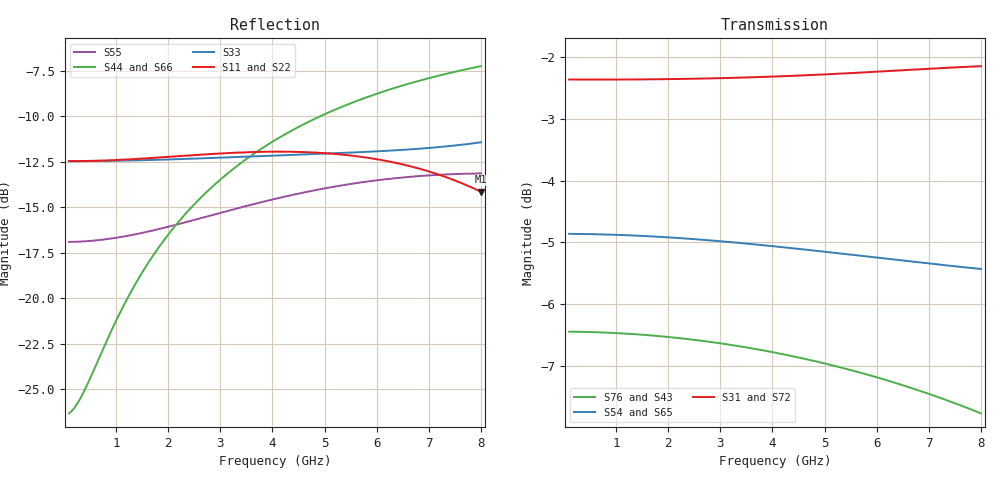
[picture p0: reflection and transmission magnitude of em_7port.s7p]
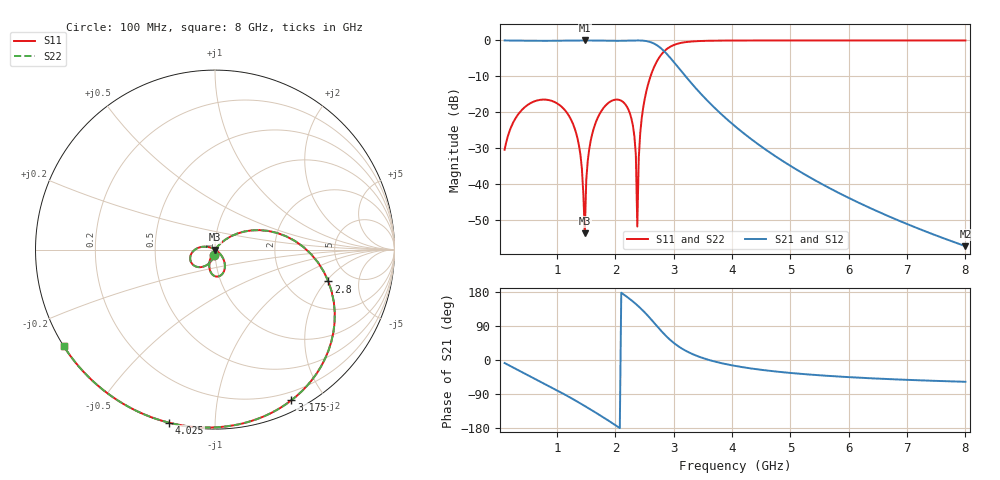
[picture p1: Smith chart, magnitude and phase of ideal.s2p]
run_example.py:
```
"""5th-order 0.1 dB Chebyshev LC low-pass (port-tuning-palace), cross-checked in every simulator.

Three circuits, all on the port-tuning project's grid (0.1-8 GHz, 25 MHz steps, 317 points):
  ideal      ideal schematic values (C1-L2-C3-L4-C5, shunt-C first)          vs the project's data/ideal.s2p
  as_drawn   EM 7-port (Palace) as an S-block, internal ports 3-7 terminated with the ideal values
                                                                              vs the project's pred_as_drawn.s2p
  e24        the same EM 7-port with the port-tuned E24 values               vs the project's pred_e24.s2p
The project's predictions came from its own numpy termination formula (checked against skrf.connect); here
the same EM data go through qucsator's SPfile, circuitRF's SnP and scikit-rf's Circuit.

    python examples/chebyshev_lpf/run_example.py            (~10 s of simulator time)
"""
from __future__ import annotations

import json
import re
import sys
from pathlib import Path

import numpy as np

HERE = Path(__file__).resolve().parent
sys.path.insert(0, str(HERE.parents[1]))
from circuit_tools import engine, lint  # noqa: E402

DATA = HERE / "data"
IDEAL = json.loads((DATA / "ideal_values.json").read_text())
E24 = json.loads((DATA / "tuned_e24.json").read_text())
SWEEP = {"type": "sparam", "start": 0.1e9, "stop": 8e9, "points": 317}
SPEC_BANDS = {"pass_band_hz": [0.1e9, 2.5e9], "stop_band_hz": [4.2e9, 6.0e9], "pass_rl_db": 15.0, "stop_rej_db": 25.0}


def ideal_spec(v=IDEAL) -> dict:
    return {"name": "cheby5_ideal", "z0": 50, "components": [
        {"type": "port", "name": "P1", "nodes": ["in", "0"], "num": 1},
        {"type": "C", "name": "C1", "nodes": ["in", "0"], "value": v["C1"]},
        {"type": "L", "name": "L2", "nodes": ["in", "n2"], "value": v["L2"]},
        {"type": "C", "name": "C3", "nodes": ["n2", "0"], "value": v["C3"]},
        {"type": "L", "name": "L4", "nodes": ["n2", "out"], "value": v["L4"]},
        {"type": "C", "name": "C5", "nodes": ["out", "0"], "value": v["C5"]},
        {"type": "port", "name": "P2", "nodes": ["out", "0"], "num": 2}], "analyses": [SWEEP]}


def em_spec(v: dict, name: str) -> dict:
    """EM 7-port: ports 1, 2 external; 3..7 are the C1, L2, C3, L4, C5 footprints (each to the common reference)."""
    comps = [{"type": "sblock", "name": "EM", "nodes": ["p1", "p2", "pC1", "pL2", "pC3", "pL4", "pC5"],
              "file": str(DATA / "em_7port.s7p")},
             {"type": "port", "name": "P1", "nodes": ["p1", "0"], "num": 1},
             {"type": "port", "name": "P2", "nodes": ["p2", "0"], "num": 2}]
    for k in ("C1", "L2", "C3", "L4", "C5"):
        comps.append({"type": k[0], "name": k, "nodes": [f"p{k}", "0"], "value": v[k]})
    return {"name": name, "z0": 50, "components": comps, "analyses": [SWEEP]}


def metrics(f, S) -> dict:
    """The port-tuning project's figures (pnet.metrics)."""
    s11 = 20 * np.log10(np.abs(S[:, 0, 0]))
    s21 = 20 * np.log10(np.abs(S[:, 1, 0]))
    pb = (f >= SPEC_BANDS["pass_band_hz"][0]) & (f <= SPEC_BANDS["pass_band_hz"][1])
    sb = (f >= SPEC_BANDS["stop_band_hz"][0]) & (f <= SPEC_BANDS["stop_band_hz"][1])
    k = int(np.argmax(s21 < -3.0))
    f3 = np.interp(-3.0, [s21[k], s21[k - 1]], [f[k], f[k - 1]]) if k > 0 else float("nan")
    return {"pass_max_s11_db": round(float(s11[pb].max()), 4), "pass_min_s21_db": round(float(s21[pb].min()), 4),
            "stop_max_s21_db": round(float(s21[sb].max()), 4), "f3db_ghz": round(float(f3 / 1e9), 4)}


def project_ref(name: str):
    import skrf as rf

    n = rf.Network(str(DATA / name))
    return {"f": n.f, "s": n.s}


def run_case(spec: dict, ref_file: str, out: Path) -> dict:
    li = lint.lint(spec)
    cc = engine.crosscheck(spec, out / spec["name"])
    ref = project_ref(ref_file)
    rows = {}
    for r in cc["results"]:
        row = {"status": r["status"], "version": r.get("version"), "wall_s": r.get("wall_s"), "reason": r.get("reason")}
        if r["status"] == "ok":
            sp = _load_result(r)
            row["metrics"] = metrics(sp["f"], sp["s"])
            d = np.abs(sp["s"] - ref["s"])
            row["max_dS_vs_project"] = float(d.max())
            if r.get("vs_reference"):
                row["max_dS_vs_scikit_rf"] = r["vs_reference"]["value"]
                row["worst_entry"] = r["vs_reference"].get("entry")
                row["at_ghz"] = r["vs_reference"]["at_hz"] / 1e9
            row["passivity"] = next((c["value"] for c in r.get("checks") or [] if c["name"] == "passivity"), None)
        rows[r["sim"]] = row
    return {"lint": {"counts": li["counts"], "warnings": [f["id"] + ": " + f["message"] for f in li["findings"]
                                                          if f["severity"] != "info"]},
            "project_reference": ref_file, "project_metrics": metrics(ref["f"], ref["s"]), "simulators": rows,
            "overall": cc["overall"]}


def _load_result(row: dict) -> dict:
    import skrf as rf

    p = next(f for f in row["files"] if re.match(r"\.s\d+p$", Path(f).suffix))
    n = rf.Network(p)
    return {"f": n.f, "s": n.s}


def main():
    out = HERE / "runs"
    res = {"ideal": run_case(ideal_spec(), "ideal.s2p", out),
           "as_drawn": run_case(em_spec(IDEAL, "cheby5_em_as_drawn"), "pred_as_drawn.s2p", out),
           "e24": run_case(em_spec(E24, "cheby5_em_e24"), "pred_e24.s2p", out)}
    (HERE / "results.json").write_text(json.dumps(res, indent=1))
    for case, r in res.items():
        print(f"== {case}: project {r['project_metrics']}")
        for sim, row in r["simulators"].items():
            print(f"   {sim:10s} {row['status']:12s} dS_vs_skrf={row.get('max_dS_vs_scikit_rf')} "
                  f"dS_vs_project={row.get('max_dS_vs_project')} {row.get('metrics')} {row.get('reason') or ''}")


if __name__ == "__main__":
    main()
```
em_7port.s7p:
! Created with skrf 1.13.0 (http://scikit-rf.org).
# Hz S RI R 50.0
!freq ReS11 ImS11 ReS12 ImS12 ReS13 ImS13
! ReS14 ImS14 ReS15 ImS15 ReS16 ImS16 ReS17 ImS17
! ReS21 ImS21 ReS22 ImS22 ReS23 ImS23
! ReS24 ImS24 ReS25 ImS25 ReS26 ImS26 ReS27 ImS27
! ReS31 ImS31 ReS32 ImS32 ReS33 ImS33
! ReS34 ImS34 ReS35 ImS35 ReS36 ImS36 ReS37 ImS37
! ReS41 ImS41 ReS42 ImS42 ReS43 ImS43
! ReS44 ImS44 ReS45 ImS45 ReS46 ImS46 ReS47 ImS47
! ReS51 ImS51 ReS52 ImS52 ReS53 ImS53
! ReS54 ImS54 ReS55 ImS55 ReS56 ImS56 ReS57 ImS57
! ReS61 ImS61 ReS62 ImS62 ReS63 ImS63
! ReS64 ImS64 ReS65 ImS65 ReS66 ImS66 ReS67 ImS67
! ReS71 ImS71 ReS72 ImS72 ReS73 ImS73
! ReS74 ImS74 ReS75 ImS75 ReS76 ImS76 ReS77 ImS77
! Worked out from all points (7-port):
!   317 points, 100 MHz to 8 GHz, reference 50 ohm
!   strongest paths, dB at 100 MHz, 2.075 GHz, 4.05 GHz, 6.025 GHz, 8 GHz:
!     S31: -2.4, -2.4, -2.3, -2.2, -2.1
!     S72: -2.4, -2.4, -2.3, -2.2, -2.1
!     S54: -4.9, -4.9, -5.1, -5.2, -5.4
!     S65: -4.9, -4.9, -5.1, -5.3, -5.4
!     S76: -6.4, -6.5, -6.8, -7.2, -7.8
!     S43: -6.4, -6.5, -6.8, -7.2, -7.8
!   lowest |S11| = -14.1 dB at 8 GHz (marker M1), VSWR 1.49, Z = 73.1 + j7.25 ohm
!   |S11| at or under -10 dB: start of sweep to end of sweep
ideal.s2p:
! Created with skrf 1.13.0 (http://scikit-rf.org).
# Hz S RI R 50.0
!freq ReS11 ImS11 ReS21 ImS21 ReS12 ImS12 ReS22 ImS22
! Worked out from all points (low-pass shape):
!   317 points, 100 MHz to 8 GHz, reference 50 ohm
!   highest |S21| = 0.00 dB at 1.475 GHz (marker M1); lowest = -57.2 dB at 8 GHz (marker M2)
!   |S21| within 3 dB of the highest: start of sweep to 2.836 GHz
!   lowest |S11| = -53.6 dB at 1.475 GHz (marker M3), VSWR 1.00, Z = 50.2 - j0.109 ohm
!   |S11| at or under -10 dB: start of sweep to 2.601 GHz
!   |S22| runs from -53.6 to 0.0 dB; largest |S21 - S12| = 5.8e-16
!   S11 on the Smith chart (normalised r, x): 100 MHz: 0.99, -0.06; 2.8 GHz: 3.41, -2.13; 3.175 GHz: 0.11, -1.62; 4.025 GHz: 0.00, -0.77; 8 GHz: 0.00, -0.29
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1e8  -0.00424 -0.03  0.9897 -0.1397  0.9897 -0.1397  -0.00424 -0.03
1.1e9  -0.1152 -0.00303  0.0261 -0.993  0.0261 -0.993  -0.1152 -0.00303
1.475e9  0.00178 -0.00109  -0.5215 -0.8533  -0.5215 -0.8533  0.00178 -0.00109
2e9  0.0209 -0.149  -0.979 -0.1373  -0.979 -0.1373  0.0209 -0.149
2.375e9  -0.00151 -0.00211  -0.8138 0.5811  -0.8138 0.5811  -0.00151 -0.00211
2.475e9  0.0884 0.0739  -0.6373 0.762  -0.6373 0.762  0.0884 0.0739
2.8e9  0.6318 -0.1777  0.2043 0.7263  0.2043 0.7263  0.6318 -0.1777
3.175e9  0.426 -0.8392  0.3014 0.153  0.3014 0.153  0.426 -0.8392
4.025e9  -0.2554 -0.9645  0.0647 -0.0171  0.0647 -0.0171  -0.2554 -0.9645
4.05e9  -0.2672 -0.9615  0.062 -0.0172  0.062 -0.0172  -0.2672 -0.9615
8e9  -0.8436 -0.537  0.000744 -0.00117  0.000744 -0.00117  -0.8436 -0.537
